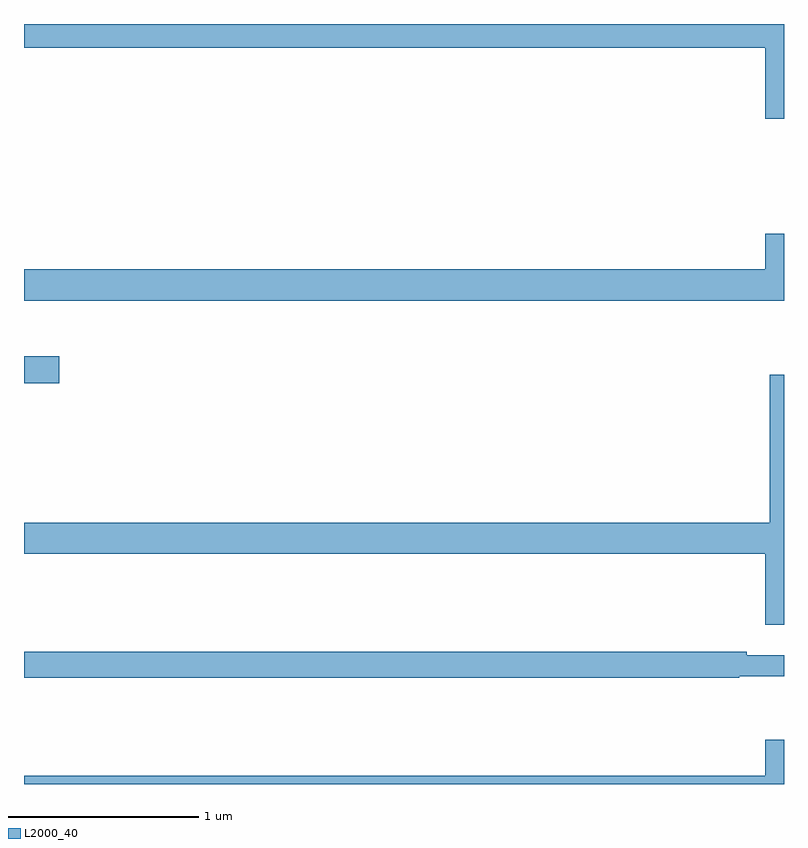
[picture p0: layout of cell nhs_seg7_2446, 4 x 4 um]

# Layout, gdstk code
import gdstk
lib = gdstk.Library(unit=1e-6, precision=1e-09)
def R(c, l, rs):  # rectangles x0, y0, x1, y1
    for r in rs: c.add(gdstk.rectangle(r[:2], r[2:], *l))
def P(c, l, *ps):  # polygons
    for p in ps: c.add(gdstk.Polygon(p, *l))
L2000_40 = (2000, 40)

nhs_seg7_2446 = lib.new_cell('nhs_seg7_2446')
R(nhs_seg7_2446, L2000_40, [(269,1072.109,269.185,1072.251)])
P(nhs_seg7_2446, L2000_40, [(273,1074),(269,1074),(269,1073.876),(272.9,1073.876),(272.9,1073.502),(273,1073.502)],
  [(273,1072.897),(272.9,1072.897),(272.9,1072.708),(269,1072.708),(269,1072.544),(273,1072.544)],
  [(273,1072.155),(272.924,1072.155),(272.924,1071.376),(269,1071.376),(269,1071.212),(272.9,1071.212),(272.9,1070.838),(273,1070.838)],
  [(272.764,1070.568),(273,1070.568),(273,1070.677),(272.804,1070.677),(272.804,1070.696),(269,1070.696),(269,1070.56),(272.764,1070.56)],
  [(273,1070.233),(272.9,1070.233),(272.9,1070.044),(269,1070.044),(269,1070),(273,1070)])

lib.write_gds('nhs_seg7_2446.gds')
